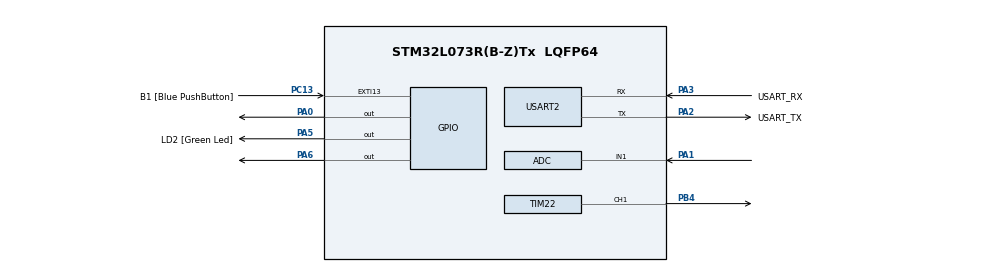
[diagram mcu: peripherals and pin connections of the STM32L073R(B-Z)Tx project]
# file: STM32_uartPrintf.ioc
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Mcu.Family=STM32L0
Mcu.Name=STM32L073R(B-Z)Tx
Mcu.Package=LQFP64
NVIC.USART2_IRQn=true\:0\:0\:false\:false\:true\:true\:true\:true
PA0.GPIO_ModeDefaultOutputPP=GPIO_MODE_OUTPUT_OD
PA0.GPIO_PuPd=GPIO_NOPULL
PA0.PinState=GPIO_PIN_SET
PA0.Signal=GPIO_Output
PA1.Mode=IN1
PA1.Signal=ADC_IN1
PA13.GPIO_Label=TMS
PA13.Mode=Serial_Wire
PA13.Signal=SYS_SWDIO
PA14.GPIO_Label=TCK
PA14.Mode=Serial_Wire
PA14.Signal=SYS_SWCLK
PA2.GPIO_Label=USART_TX
PA2.Mode=Asynchronous
PA2.Signal=USART2_TX
PA3.GPIO_Label=USART_RX
PA3.Mode=Asynchronous
PA3.Signal=USART2_RX
PA5.GPIO_Label=LD2 [Green Led]
PA5.Signal=GPIO_Output
PA6.Signal=GPIO_Output
PB4.Signal=S_TIM22_CH1
PC13.GPIO_Label=B1 [Blue PushButton]
PC13.GPIO_ModeDefaultEXTI=GPIO_MODE_IT_FALLING
PC13.Signal=GPXTI13
PC14-OSC32_IN.Mode=LSE-External-Oscillator
PC14-OSC32_IN.Signal=RCC_OSC32_IN
PC15-OSC32_OUT.Mode=LSE-External-Oscillator
PC15-OSC32_OUT.Signal=RCC_OSC32_OUT
PH0-OSC_IN.GPIO_Label=MCO
PH0-OSC_IN.Mode=HSE-External-Clock-Source
PH0-OSC_IN.Signal=RCC_OSC_IN
ProjectManager.HeapSize=0x200
ProjectManager.StackSize=0x400
ProjectManager.TargetToolchain=STM32CubeIDE
RCC.AHBFreq_Value=16000000
RCC.APB1Freq_Value=16000000
RCC.APB1TimFreq_Value=16000000
RCC.APB2Freq_Value=16000000
RCC.APB2TimFreq_Value=16000000
RCC.HCLKFreq_Value=16000000
RCC.HSE_VALUE=8000000
RCC.HSI16_VALUE=16000000
RCC.HSI48_VALUE=48000000
RCC.HSI_VALUE=16000000
RCC.MSI_VALUE=2097000
RCC.SYSCLKFreq_VALUE=16000000
RCC.SYSCLKSource=RCC_SYSCLKSOURCE_HSI
RCC.VCOOutputFreq_Value=48000000
SH.S_TIM22_CH1.0=TIM22_CH1,PWM Generation1 CH1
TIM2.Prescaler=15
TIM22.Channel-PWM\ Generation1\ CH1=TIM_CHANNEL_1
TIM22.Period=20000
TIM22.Prescaler=15
TIM22.Pulse-PWM\ Generation1\ CH1=500
TIM3.Period=20000
TIM3.Prescaler=15
TIM6.Prescaler=15
USART2.VirtualMode-Asynchronous=VM_ASYNC
VP_TIM22_VS_ClockSourceINT.Mode=Internal
VP_TIM2_VS_ClockSourceINT.Mode=Internal
VP_TIM3_VS_ClockSourceINT.Mode=Internal
VP_TIM6_VS_ClockSourceINT.Mode=Enable_Timer
board=NUCLEO-L073RZ

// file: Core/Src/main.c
/* USER CODE BEGIN Header */
/**
 * @mainpage  SYS3046 course template
 *
 *            Implémentation de notre librairie MyGpioLib.c permettant de lire/écrire
 *            l'état de différentes sorties et le clignotement d'une led.
 *            Station météo avec capteur DHT22.
 */
/* USER CODE END Header */
#include "main.h"
#include "adc.h"
#include "tim.h"
#include "usart.h"
#include "gpio.h"

/* USER CODE BEGIN Includes */
#include <stdio.h>
#include <retarget.h>
#include <getch.h>
#include "myGpioLib.h"
#include "DHT.h"
#include "MeteoLib.h"

/* USER CODE END Includes */

/* USER CODE BEGIN PV */
extern volatile uint32_t get_tick;
/* USER CODE END PV */

void SystemClock_Config(void);

/* USER CODE BEGIN 0 */

void delay (uint16_t time)
{
	/* change your code here for the delay in microseconds */
	__HAL_TIM_SET_COUNTER(&htim6, 0);
	while ((__HAL_TIM_GET_COUNTER(&htim6))<time);
}

uint8_t Rh_byte1, Rh_byte2, Temp_byte1, Temp_byte2;
uint16_t SUM, RH, TEMP;

//float Temperature = 0;
//float Humidity = 0;
//uint8_t Presence = 0;

void Set_Pin_Output (GPIO_TypeDef *GPIOx, uint16_t GPIO_Pin)
{
	GPIO_InitTypeDef GPIO_InitStruct = {0};
	GPIO_InitStruct.Pin = GPIO_Pin;
	GPIO_InitStruct.Mode = GPIO_MODE_OUTPUT_PP;
	GPIO_InitStruct.Speed = GPIO_SPEED_FREQ_LOW;
	HAL_GPIO_Init(GPIOx, &GPIO_InitStruct);
}

void Set_Pin_Input (GPIO_TypeDef *GPIOx, uint16_t GPIO_Pin)
{
	GPIO_InitTypeDef GPIO_InitStruct = {0};
	GPIO_InitStruct.Pin = GPIO_Pin;
	GPIO_InitStruct.Mode = GPIO_MODE_INPUT;
	GPIO_InitStruct.Pull = GPIO_PULLUP;
	HAL_GPIO_Init(GPIOx, &GPIO_InitStruct);
}

/*********************************** DHT22 FUNCTIONS ****************************************/

#define DHT22_PORT GPIOA
#define DHT22_PIN GPIO_PIN_0
//
//void DHT22_Start (void)
//{
//	Set_Pin_Output(DHT22_PORT, DHT22_PIN); // set the pin as output
//	HAL_GPIO_WritePin (DHT22_PORT, DHT22_PIN, 0);   // pull the pin low
//	delay(1200);   // wait for > 1ms
//
//	HAL_GPIO_WritePin (DHT22_PORT, DHT22_PIN, 1);   // pull the pin high
//	delay (20);   // wait for 30us
//
//	Set_Pin_Input(DHT22_PORT, DHT22_PIN);   // set as input
//}
//
//uint8_t DHT22_Check_Response (void)
//{
//	Set_Pin_Input(DHT22_PORT, DHT22_PIN);   // set as input
//	uint8_t Response = 0;
//	delay (40);  // wait for 40us
//	if (!(HAL_GPIO_ReadPin (DHT22_PORT, DHT22_PIN))) // if the pin is low
//	{
//		delay (80);   // wait for 80us
//
//		if ((HAL_GPIO_ReadPin (DHT22_PORT, DHT22_PIN))) Response = 1;  // if the pin is high, response is ok
//		else Response = -1;
//	}
//
//	while ((HAL_GPIO_ReadPin (DHT22_PORT, DHT22_PIN)));   // wait for the pin to go low
//	return Response;
//}
//
//uint8_t DHT22_Read (void)
//{
//	uint8_t i,j;
//	for (j=0;j<8;j++)
//	{
//		while (!(HAL_GPIO_ReadPin (DHT22_PORT, DHT22_PIN)));   // wait for the pin to go high
//		delay (40);   // wait for 40 us
//
//		if (!(HAL_GPIO_ReadPin (DHT22_PORT, DHT22_PIN)))   // if the pin is low
//		{
//			i&= ~(1<<(7-j));   // write 0
//		}
//		else i|= (1<<(7-j));  // if the pin is high, write 1
//		while ((HAL_GPIO_ReadPin (DHT22_PORT, DHT22_PIN)));  // wait for the pin to go low
//	}
//
//	return i;
//}

/* USER CODE END 0 */

int main(void)
{

  /* MCU Configuration--------------------------------------------------------*/

  /* Reset of all peripherals, Initializes the Flash interface and the Systick. */
  HAL_Init();

  /* Configure the system clock */
  SystemClock_Config();

  /* Initialize all configured peripherals */
  MX_GPIO_Init();
  MX_USART2_UART_Init();
  MX_TIM2_Init();
  MX_TIM6_Init();
  MX_ADC_Init();
  MX_TIM3_Init();
  MX_TIM22_Init();
  /* USER CODE BEGIN 2 */
  RetargetInit(USART2);
  getchInit();
  LL_USART_EnableIT_RXNE(USART2);
  LL_SYSTICK_EnableIT();
  HAL_TIM_Base_Start(&htim6);
  HAL_ADCEx_Calibration_Start(&hadc, ADC_SINGLE_ENDED);
  LL_TIM_CC_EnableChannel(TIM22, LL_TIM_CHANNEL_CH1); // CH2 car PWM Gen CH2
  LL_TIM_EnableCounter(TIM22);

  printf("\r\n=== SYS3046 - Station Meteo ===\r\n");
  /* USER CODE END 2 */

  /* Infinite loop */
  /* USER CODE BEGIN WHILE */
  setTemp(25.5);
	  while (1)
	  {
    /* USER CODE END WHILE */

    /* USER CODE BEGIN 3 */
		  checkTemp();

	    /* --- Lecture photorésistance PA1 : moyenne sur 10 mesures --- */
	    uint32_t somme = 0;
	    for (int i = 0; i < 10; i++) {
	        HAL_ADC_Start(&hadc);
	        HAL_ADC_PollForConversion(&hadc, 100);
	        somme += HAL_ADC_GetValue(&hadc);
	    }
	    uint32_t adc_val = somme / 10;
	    float tension = (adc_val / 4095.0f) * 3.3f;
	    printf("Luminosite : %4lu  |  Tension : %.2f V\r\n", adc_val, tension);

	    /* --- LED allumée si obscurité (valeur > 600) --- */
	    if (adc_val > 1000) {
	        HAL_GPIO_WritePin(GPIOA, GPIO_PIN_6, GPIO_PIN_SET);
	        printf("LED ON  -> obscurite detectee\r\n");
	    } else {
	        HAL_GPIO_WritePin(GPIOA, GPIO_PIN_6, GPIO_PIN_RESET);
	        printf("LED OFF -> lumiere detectee\r\n");
	    }

	    HAL_Delay(2000);
	    printf("\r\n");
	  }
  /* USER CODE END 3 */
}

void SystemClock_Config(void)
{
  LL_FLASH_SetLatency(LL_FLASH_LATENCY_0);
  while(LL_FLASH_GetLatency()!= LL_FLASH_LATENCY_0)
  {
  }
  LL_PWR_SetRegulVoltageScaling(LL_PWR_REGU_VOLTAGE_SCALE1);
  while (LL_PWR_IsActiveFlag_VOS() != 0)
  {
  }
  LL_RCC_HSI_Enable();

   /* Wait till HSI is ready */
  while(LL_RCC_HSI_IsReady() != 1)
  {

  }
  LL_RCC_HSI_SetCalibTrimming(16);
  LL_RCC_SetAHBPrescaler(LL_RCC_SYSCLK_DIV_1);
  LL_RCC_SetAPB1Prescaler(LL_RCC_APB1_DIV_1);
  LL_RCC_SetAPB2Prescaler(LL_RCC_APB2_DIV_1);
  LL_RCC_SetSysClkSource(LL_RCC_SYS_CLKSOURCE_HSI);

   /* Wait till System clock is ready */
  while(LL_RCC_GetSysClkSource() != LL_RCC_SYS_CLKSOURCE_STATUS_HSI)
  {

  }
  LL_SetSystemCoreClock(16000000);

   /* Update the time base */
  if (HAL_InitTick (TICK_INT_PRIORITY) != HAL_OK)
  {
    Error_Handler();
  }
  LL_RCC_SetUSARTClockSource(LL_RCC_USART2_CLKSOURCE_PCLK1);
}

void Error_Handler(void)
{
  __disable_irq();
  while (1) {}
}
